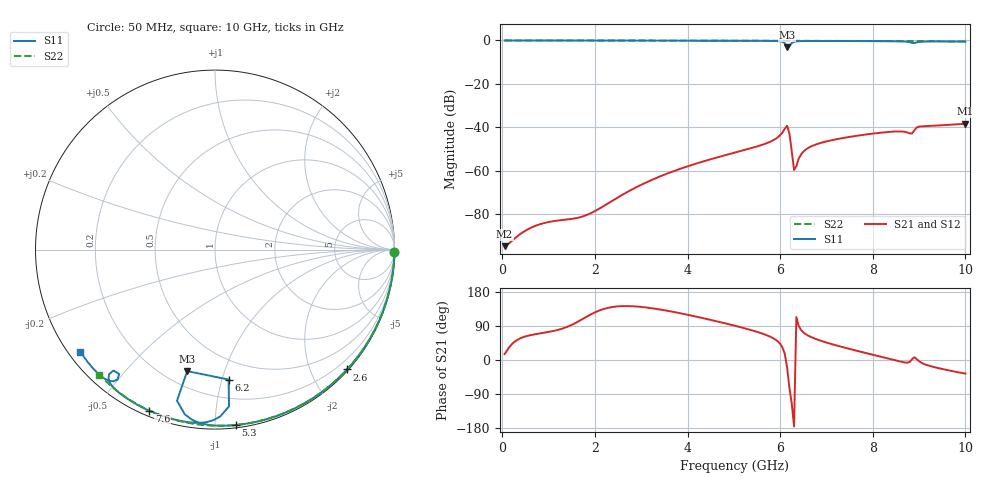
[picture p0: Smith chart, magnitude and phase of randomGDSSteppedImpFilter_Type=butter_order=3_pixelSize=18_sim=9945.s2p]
! freq	dB(S11)	phase(S11)	dB(S12)	phase(S12)
!  dB(S21)	phase(S21)	dB(S22)	phase(S22)
!S-par simulation data
#  GHz  S  DB  R 50
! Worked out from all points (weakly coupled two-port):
!   200 points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, 50 MHz to 10 GHz, reference 50 ohm
!   highest |S21| = -38.43 dB at 10 GHz (marker M1); lowest = -94.9 dB at 50 MHz (marker M2)
!   lowest |S11| = -3.2 dB at 6.15 GHz (marker M3), VSWR 5.55, Z = 14.4 - j37.8 ohm
!   |S11| at or under -10 dB: nowhere
!   |S22| runs from -0.4 to 0.0 dB; largest |S21 - S12| = 0
!   S11 on the Smith chart (normalised r, x): 50 MHz: open; 2.6 GHz: 0.02, -2.59; 5.3 GHz: 0.02, -1.13; 6.2 GHz: 0.34, -1.05; 7.6 GHz: 0.02, -0.67; 10 GHz: 0.03, -0.34
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0.05  -0.00 -0.8  -94.90 15.5  -94.90 15.5  -0.00 -0.8
1.75  -0.04 -28.7  -81.10 109.3  -81.10 109.3  -0.03 -26.4
1.9  -0.04 -31.1  -79.81 119.6  -79.81 119.6  -0.04 -28.6
2.6  -0.05 -42.2  -71.09 142.2  -71.09 142.2  -0.05 -38.9
3.4  -0.07 -54.6  -62.78 133.4  -62.78 133.4  -0.07 -50.3
5.05  -0.12 -79.4  -51.58 89.5  -51.58 89.5  -0.11 -72.8
5.3  -0.14 -83.2  -50.13 81.4  -50.13 81.4  -0.12 -76.1
5.75  -0.18 -90.8  -47.05 63.4  -47.05 63.4  -0.14 -81.9
6  -0.39 -97.7  -43.71 42.8  -43.71 42.8  -0.15 -85.1
6.1  -1.23 -104.1  -40.72 16.3  -40.72 16.3  -0.15 -86.4
6.15  -3.17 -102.9  -39.37 -19.7  -39.37 -19.7  -0.15 -87.0
6.2  -2.76 -84.0  -42.90 -73.5  -42.90 -73.5  -0.16 -87.6
6.25  -1.14 -84.9  -50.99 -114.5  -50.99 -114.5  -0.16 -88.2
6.3  -0.63 -88.2  -59.75 -175.5  -59.75 -175.5  -0.16 -88.9
6.45  -0.30 -93.9  -52.60 79.5  -52.60 79.5  -0.17 -90.7
6.7  -0.24 -99.0  -48.58 58.8  -48.58 58.8  -0.18 -93.8
7.6  -0.27 -112.2  -44.14 26.0  -44.14 26.0  -0.23 -104.8
8.35  -0.34 -122.6  -42.19 3.3  -42.19 3.3  -0.29 -113.6
8.75  -0.60 -129.5  -42.45 -7.0  -42.45 -7.0  -0.32 -118.3
8.85  -1.12 -130.0  -42.89 2.4  -42.89 2.4  -0.33 -119.5
9  -0.67 -127.6  -39.75 -3.3  -39.75 -3.3  -0.35 -121.2
10  -0.53 -142.8  -38.43 -35.9  -38.43 -35.9  -0.45 -132.7
